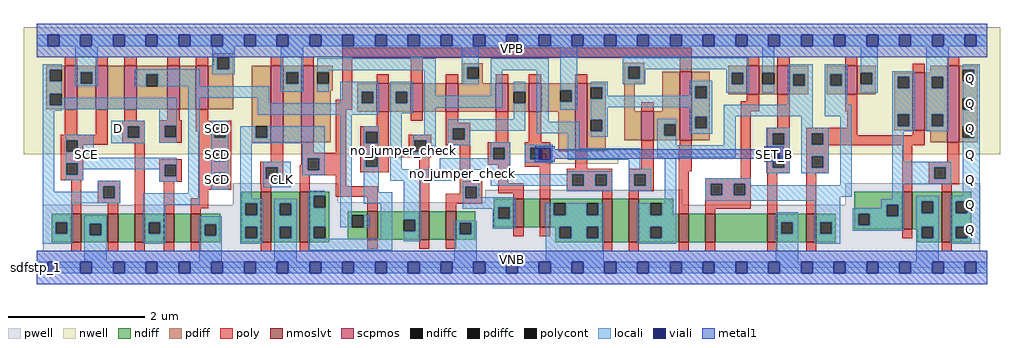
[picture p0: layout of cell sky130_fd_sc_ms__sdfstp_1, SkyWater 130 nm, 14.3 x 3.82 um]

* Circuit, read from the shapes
.subckt sky130_fd_sc_ms__sdfstp_1 CLK D SCD SCE SET_B VGND VNB VPB VPWR Q
XM1 VGND SCE n1 VNB sky130_fd_pr__nfet_01v8_lvt w=0.42 l=0.15
XM2 n2 n1 VGND VNB sky130_fd_pr__nfet_01v8_lvt w=0.42 l=0.15
XM3 n3 D n2 VNB sky130_fd_pr__nfet_01v8_lvt w=0.42 l=0.15
XM4 n4 SCE n3 VNB sky130_fd_pr__nfet_01v8_lvt w=0.42 l=0.15
XM5 VGND SCD n4 VNB sky130_fd_pr__nfet_01v8_lvt w=0.42 l=0.15
XM6 VGND CLK n5 VNB sky130_fd_pr__nfet_01v8_lvt w=0.74 l=0.15
XM7 n6 n5 VGND VNB sky130_fd_pr__nfet_01v8_lvt w=0.74 l=0.15
XM8 n7 n5 n3 VNB sky130_fd_pr__nfet_01v8_lvt w=0.42 l=0.15
XM9 n8 n6 n7 VNB sky130_fd_pr__nfet_01v8_lvt w=0.42 l=0.15
XM10 VGND n9 n8 VNB sky130_fd_pr__nfet_01v8_lvt w=0.42 l=0.15
XM11 n10 n7 n9 VNB sky130_fd_pr__nfet_01v8_lvt w=0.42 l=0.15
XM12 VGND SET_B n10 VNB sky130_fd_pr__nfet_01v8_lvt w=0.42 l=0.15
XM13 n11 n7 VGND VNB sky130_fd_pr__nfet_01v8_lvt w=0.64 l=0.15
XM14 n12 n6 n11 VNB sky130_fd_pr__nfet_01v8_lvt w=0.64 l=0.15
XM15 n13 n5 n12 VNB sky130_fd_pr__nfet_01v8_lvt w=0.42 l=0.15
XM16 n14 n15 n13 VNB sky130_fd_pr__nfet_01v8_lvt w=0.42 l=0.15
XM17 VGND SET_B n14 VNB sky130_fd_pr__nfet_01v8_lvt w=0.42 l=0.15
XM18 n15 n12 VGND VNB sky130_fd_pr__nfet_01v8_lvt w=0.42 l=0.15
XM19 VGND n12 n16 VNB sky130_fd_pr__nfet_01v8_lvt w=0.55 l=0.15
XM20 Q n16 VGND VNB sky130_fd_pr__nfet_01v8_lvt w=0.74 l=0.15
XM21 VPWR SCE n1 VPB sky130_fd_pr__pfet_01v8 w=0.64 l=0.18
XM22 n17 SCE VPWR VPB sky130_fd_pr__pfet_01v8 w=0.64 l=0.18
XM23 n3 D n17 VPB sky130_fd_pr__pfet_01v8 w=0.64 l=0.18
XM24 n18 n1 n3 VPB sky130_fd_pr__pfet_01v8 w=0.64 l=0.18
XM25 VPWR SCD n18 VPB sky130_fd_pr__pfet_01v8 w=0.64 l=0.18
XM26 VPWR CLK n5 VPB sky130_fd_pr__pfet_01v8 w=1.12 l=0.18
XM27 n6 n5 VPWR VPB sky130_fd_pr__pfet_01v8 w=1.12 l=0.18
XM28 n7 n6 n3 VPB sky130_fd_pr__pfet_01v8 w=0.42 l=0.18
XM29 n19 n5 n7 VPB sky130_fd_pr__pfet_01v8 w=0.42 l=0.18
XM30 VPWR n9 n19 VPB sky130_fd_pr__pfet_01v8 w=0.42 l=0.18
XM31 n9 n7 VPWR VPB sky130_fd_pr__pfet_01v8 w=0.42 l=0.18
XM32 VPWR SET_B n9 VPB sky130_fd_pr__pfet_01v8 w=0.42 l=0.18
XM33 n20 n7 VPWR VPB sky130_fd_pr__pfet_01v8 w=1 l=0.18
XM34 n12 n6 n21 VPB sky130_fd_pr__pfet_01v8 w=0.42 l=0.18
XM35 n20 n5 n12 VPB sky130_fd_pr__pfet_01v8 w=1 l=0.18
XM36 VPWR n15 n21 VPB sky130_fd_pr__pfet_01v8 w=0.42 l=0.18
XM37 n12 SET_B VPWR VPB sky130_fd_pr__pfet_01v8 w=0.42 l=0.18
XM38 VPWR n12 n15 VPB sky130_fd_pr__pfet_01v8 w=0.42 l=0.18
XM39 VPWR n12 n16 VPB sky130_fd_pr__pfet_01v8 w=0.84 l=0.18
XM40 Q n16 VPWR VPB sky130_fd_pr__pfet_01v8 w=1.12 l=0.18
.ends

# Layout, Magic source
magic
tech sky130A
magscale 1 2
<< nwell >>
rect -38 332 2822 704
rect 1491 305 1703 332
<< pwell >>
rect 573 191 883 248
rect 1313 191 1891 228
rect 573 184 1891 191
rect 2369 184 2764 248
rect 17 49 2764 184
rect 0 0 2784 49
<< scpmos >>
rect 82 464 118 592
rect 172 464 208 592
rect 256 464 292 592
rect 382 464 418 592
rect 466 464 502 592
rect 685 368 721 592
rect 775 368 811 592
rect 995 457 1031 541
rect 1095 457 1131 541
rect 1198 457 1234 541
rect 1345 457 1381 541
rect 1441 457 1477 541
rect 1577 341 1613 541
rect 1771 374 1807 458
rect 1883 374 1919 574
rect 2080 508 2116 592
rect 2170 508 2206 592
rect 2368 508 2404 592
rect 2566 403 2602 571
rect 2667 368 2703 592
<< nmoslvt >>
rect 100 74 130 158
rect 208 74 238 158
rect 286 74 316 158
rect 372 74 402 158
rect 450 74 480 158
rect 656 74 686 222
rect 770 74 800 222
rect 968 81 998 165
rect 1120 81 1150 165
rect 1198 81 1228 165
rect 1396 118 1426 202
rect 1474 118 1504 202
rect 1656 74 1686 202
rect 1734 74 1764 202
rect 1880 74 1910 158
rect 1958 74 1988 158
rect 2140 74 2170 158
rect 2254 74 2284 158
rect 2535 112 2565 222
rect 2651 74 2681 222
<< ndiff >>
rect 599 188 656 222
rect 43 133 100 158
rect 43 99 55 133
rect 89 99 100 133
rect 43 74 100 99
rect 130 129 208 158
rect 130 95 155 129
rect 189 95 208 129
rect 130 74 208 95
rect 238 74 286 158
rect 316 133 372 158
rect 316 99 327 133
rect 361 99 372 133
rect 316 74 372 99
rect 402 74 450 158
rect 480 127 537 158
rect 480 93 491 127
rect 525 93 537 127
rect 480 74 537 93
rect 599 154 611 188
rect 645 154 656 188
rect 599 120 656 154
rect 599 86 611 120
rect 645 86 656 120
rect 599 74 656 86
rect 686 188 770 222
rect 686 154 711 188
rect 745 154 770 188
rect 686 120 770 154
rect 686 86 711 120
rect 745 86 770 120
rect 686 74 770 86
rect 800 210 857 222
rect 800 176 811 210
rect 845 176 857 210
rect 800 120 857 176
rect 1339 177 1396 202
rect 800 86 811 120
rect 845 86 857 120
rect 800 74 857 86
rect 911 153 968 165
rect 911 119 923 153
rect 957 119 968 153
rect 911 81 968 119
rect 998 140 1120 165
rect 998 106 1075 140
rect 1109 106 1120 140
rect 998 81 1120 106
rect 1150 81 1198 165
rect 1228 132 1285 165
rect 1228 98 1239 132
rect 1273 98 1285 132
rect 1339 143 1351 177
rect 1385 143 1396 177
rect 1339 118 1396 143
rect 1426 118 1474 202
rect 1504 188 1656 202
rect 1504 154 1515 188
rect 1549 154 1611 188
rect 1645 154 1656 188
rect 1504 120 1656 154
rect 1504 118 1531 120
rect 1228 81 1285 98
rect 1519 86 1531 118
rect 1565 86 1611 120
rect 1645 86 1656 120
rect 1519 74 1656 86
rect 1686 74 1734 202
rect 1764 188 1865 202
rect 1764 154 1797 188
rect 1831 158 1865 188
rect 2395 185 2535 222
rect 2395 158 2490 185
rect 1831 154 1880 158
rect 1764 120 1880 154
rect 1764 86 1797 120
rect 1831 86 1880 120
rect 1764 74 1880 86
rect 1910 74 1958 158
rect 1988 74 2140 158
rect 2170 133 2254 158
rect 2170 99 2181 133
rect 2215 99 2254 133
rect 2170 74 2254 99
rect 2284 133 2341 158
rect 2284 99 2295 133
rect 2329 99 2341 133
rect 2395 124 2407 158
rect 2441 151 2490 158
rect 2524 151 2535 185
rect 2441 124 2535 151
rect 2395 112 2535 124
rect 2565 194 2651 222
rect 2565 160 2592 194
rect 2626 160 2651 194
rect 2565 120 2651 160
rect 2565 112 2592 120
rect 2284 74 2341 99
rect 2580 86 2592 112
rect 2626 86 2651 120
rect 2580 74 2651 86
rect 2681 194 2738 222
rect 2681 160 2692 194
rect 2726 160 2738 194
rect 2681 120 2738 160
rect 2681 86 2692 120
rect 2726 86 2738 120
rect 2681 74 2738 86
<< pdiff >>
rect 517 616 575 628
rect 517 592 529 616
rect 27 580 82 592
rect 27 546 38 580
rect 72 546 82 580
rect 27 510 82 546
rect 27 476 38 510
rect 72 476 82 510
rect 27 464 82 476
rect 118 573 172 592
rect 118 539 128 573
rect 162 539 172 573
rect 118 464 172 539
rect 208 464 256 592
rect 292 566 382 592
rect 292 532 320 566
rect 354 532 382 566
rect 292 464 382 532
rect 418 464 466 592
rect 502 582 529 592
rect 563 582 575 616
rect 502 464 575 582
rect 629 414 685 592
rect 629 380 641 414
rect 675 380 685 414
rect 629 368 685 380
rect 721 573 775 592
rect 721 539 731 573
rect 765 539 775 573
rect 721 368 775 539
rect 811 573 867 592
rect 811 539 821 573
rect 855 539 867 573
rect 811 520 867 539
rect 811 368 861 520
rect 1249 587 1307 599
rect 1249 553 1261 587
rect 1295 553 1307 587
rect 1721 588 1779 600
rect 1249 541 1307 553
rect 1721 554 1733 588
rect 1767 554 1779 588
rect 1721 542 1779 554
rect 939 516 995 541
rect 939 482 951 516
rect 985 482 995 516
rect 939 457 995 482
rect 1031 516 1095 541
rect 1031 482 1051 516
rect 1085 482 1095 516
rect 1031 457 1095 482
rect 1131 457 1198 541
rect 1234 457 1345 541
rect 1381 516 1441 541
rect 1381 482 1397 516
rect 1431 482 1441 516
rect 1381 457 1441 482
rect 1477 520 1577 541
rect 1477 486 1533 520
rect 1567 486 1577 520
rect 1477 457 1577 486
rect 1527 341 1577 457
rect 1613 529 1667 541
rect 1613 495 1623 529
rect 1657 495 1667 529
rect 1613 434 1667 495
rect 1613 400 1623 434
rect 1657 400 1667 434
rect 1613 341 1667 400
rect 1721 458 1751 542
rect 1833 458 1883 574
rect 1721 374 1771 458
rect 1807 420 1883 458
rect 1807 386 1838 420
rect 1872 386 1883 420
rect 1807 374 1883 386
rect 1919 531 1972 574
rect 1919 497 1929 531
rect 1963 497 1972 531
rect 2026 571 2080 592
rect 2026 537 2036 571
rect 2070 537 2080 571
rect 2026 508 2080 537
rect 2116 571 2170 592
rect 2116 537 2126 571
rect 2160 537 2170 571
rect 2116 508 2170 537
rect 2206 567 2260 592
rect 2206 533 2216 567
rect 2250 533 2260 567
rect 2206 508 2260 533
rect 2314 567 2368 592
rect 2314 533 2324 567
rect 2358 533 2368 567
rect 2314 508 2368 533
rect 2404 571 2458 592
rect 2617 571 2667 592
rect 2404 537 2414 571
rect 2448 537 2458 571
rect 2404 508 2458 537
rect 2512 559 2566 571
rect 2512 525 2522 559
rect 2556 525 2566 559
rect 1919 442 1972 497
rect 1919 408 1929 442
rect 1963 408 1972 442
rect 1919 374 1972 408
rect 2512 449 2566 525
rect 2512 415 2522 449
rect 2556 415 2566 449
rect 2512 403 2566 415
rect 2602 559 2667 571
rect 2602 525 2622 559
rect 2656 525 2667 559
rect 2602 449 2667 525
rect 2602 415 2622 449
rect 2656 415 2667 449
rect 2602 403 2667 415
rect 2617 368 2667 403
rect 2703 580 2757 592
rect 2703 546 2713 580
rect 2747 546 2757 580
rect 2703 497 2757 546
rect 2703 463 2713 497
rect 2747 463 2757 497
rect 2703 414 2757 463
rect 2703 380 2713 414
rect 2747 380 2757 414
rect 2703 368 2757 380
<< ndiffc >>
rect 55 99 89 133
rect 155 95 189 129
rect 327 99 361 133
rect 491 93 525 127
rect 611 154 645 188
rect 611 86 645 120
rect 711 154 745 188
rect 711 86 745 120
rect 811 176 845 210
rect 811 86 845 120
rect 923 119 957 153
rect 1075 106 1109 140
rect 1239 98 1273 132
rect 1351 143 1385 177
rect 1515 154 1549 188
rect 1611 154 1645 188
rect 1531 86 1565 120
rect 1611 86 1645 120
rect 1797 154 1831 188
rect 1797 86 1831 120
rect 2181 99 2215 133
rect 2295 99 2329 133
rect 2407 124 2441 158
rect 2490 151 2524 185
rect 2592 160 2626 194
rect 2592 86 2626 120
rect 2692 160 2726 194
rect 2692 86 2726 120
<< pdiffc >>
rect 38 546 72 580
rect 38 476 72 510
rect 128 539 162 573
rect 320 532 354 566
rect 529 582 563 616
rect 641 380 675 414
rect 731 539 765 573
rect 821 539 855 573
rect 1261 553 1295 587
rect 1733 554 1767 588
rect 951 482 985 516
rect 1051 482 1085 516
rect 1397 482 1431 516
rect 1533 486 1567 520
rect 1623 495 1657 529
rect 1623 400 1657 434
rect 1838 386 1872 420
rect 1929 497 1963 531
rect 2036 537 2070 571
rect 2126 537 2160 571
rect 2216 533 2250 567
rect 2324 533 2358 567
rect 2414 537 2448 571
rect 2522 525 2556 559
rect 1929 408 1963 442
rect 2522 415 2556 449
rect 2622 525 2656 559
rect 2622 415 2656 449
rect 2713 546 2747 580
rect 2713 463 2747 497
rect 2713 380 2747 414
<< poly >>
rect 82 592 118 618
rect 172 592 208 618
rect 256 592 292 618
rect 382 592 418 618
rect 466 592 502 618
rect 685 592 721 618
rect 775 592 811 618
rect 894 615 1919 645
rect 82 390 118 464
rect 172 390 208 464
rect 256 430 292 464
rect 382 432 418 464
rect 70 374 208 390
rect 70 340 86 374
rect 120 360 208 374
rect 250 414 316 430
rect 250 380 266 414
rect 300 380 316 414
rect 250 364 316 380
rect 358 416 424 432
rect 358 382 374 416
rect 408 382 424 416
rect 466 430 502 464
rect 466 414 569 430
rect 466 400 519 414
rect 358 366 424 382
rect 472 380 519 400
rect 553 380 569 414
rect 120 340 136 360
rect 70 306 136 340
rect 70 272 86 306
rect 120 272 136 306
rect 70 256 136 272
rect 100 158 130 256
rect 178 238 244 254
rect 178 204 194 238
rect 228 204 244 238
rect 178 188 244 204
rect 208 158 238 188
rect 286 158 316 364
rect 472 346 569 380
rect 894 492 924 615
rect 995 541 1031 567
rect 1095 541 1131 615
rect 1198 541 1234 567
rect 1345 541 1381 567
rect 1441 541 1477 567
rect 1577 541 1613 567
rect 1883 574 1919 615
rect 2080 592 2116 618
rect 2170 592 2206 618
rect 2368 592 2404 618
rect 876 462 924 492
rect 358 302 424 318
rect 358 268 374 302
rect 408 268 424 302
rect 358 252 424 268
rect 472 312 519 346
rect 553 312 569 346
rect 472 278 569 312
rect 685 310 721 368
rect 372 158 402 252
rect 472 244 519 278
rect 553 244 569 278
rect 655 294 721 310
rect 775 336 811 368
rect 876 336 906 462
rect 995 414 1031 457
rect 1095 431 1131 457
rect 775 320 906 336
rect 775 300 793 320
rect 655 260 671 294
rect 705 260 721 294
rect 655 244 721 260
rect 770 286 793 300
rect 827 286 906 320
rect 770 270 906 286
rect 948 398 1031 414
rect 948 364 964 398
rect 998 364 1031 398
rect 1198 425 1234 457
rect 1198 409 1269 425
rect 948 353 1031 364
rect 1090 373 1156 389
rect 1090 353 1106 373
rect 948 339 1106 353
rect 1140 339 1156 373
rect 1198 375 1219 409
rect 1253 375 1269 409
rect 1198 359 1269 375
rect 1345 367 1381 457
rect 1441 367 1477 457
rect 948 330 1156 339
rect 948 296 964 330
rect 998 323 1156 330
rect 998 296 1031 323
rect 948 280 1031 296
rect 472 228 569 244
rect 472 204 502 228
rect 656 222 686 244
rect 770 222 800 270
rect 876 238 906 270
rect 450 174 502 204
rect 450 158 480 174
rect 876 208 998 238
rect 968 165 998 208
rect 1120 165 1150 323
rect 1239 253 1269 359
rect 1321 351 1387 367
rect 1321 317 1337 351
rect 1371 317 1387 351
rect 1321 301 1387 317
rect 1429 351 1504 367
rect 1429 317 1445 351
rect 1479 317 1504 351
rect 1771 458 1807 484
rect 2566 571 2602 597
rect 2667 592 2703 618
rect 2080 488 2116 508
rect 2062 458 2116 488
rect 1239 237 1305 253
rect 1239 217 1255 237
rect 1198 203 1255 217
rect 1289 203 1305 237
rect 1351 248 1381 301
rect 1429 296 1504 317
rect 1351 218 1426 248
rect 1198 187 1305 203
rect 1396 202 1426 218
rect 1474 202 1504 296
rect 1577 290 1613 341
rect 1771 290 1807 374
rect 1883 359 1919 374
rect 1552 274 1686 290
rect 1552 240 1568 274
rect 1602 240 1636 274
rect 1670 240 1686 274
rect 1552 224 1686 240
rect 1656 202 1686 224
rect 1734 274 1807 290
rect 1734 240 1750 274
rect 1784 240 1807 274
rect 1734 224 1807 240
rect 1880 282 1919 359
rect 1734 202 1764 224
rect 1198 165 1228 187
rect 1396 92 1426 118
rect 1474 92 1504 118
rect 100 48 130 74
rect 208 48 238 74
rect 286 48 316 74
rect 372 48 402 74
rect 450 48 480 74
rect 656 48 686 74
rect 770 48 800 74
rect 968 55 998 81
rect 1120 55 1150 81
rect 1198 55 1228 81
rect 1880 158 1910 282
rect 2062 262 2092 458
rect 2170 410 2206 508
rect 2368 458 2404 508
rect 2374 410 2404 458
rect 1958 246 2092 262
rect 1958 212 1974 246
rect 2008 212 2042 246
rect 2076 212 2092 246
rect 1958 173 2092 212
rect 2140 394 2206 410
rect 2140 360 2156 394
rect 2190 360 2206 394
rect 2140 326 2206 360
rect 2140 292 2156 326
rect 2190 292 2206 326
rect 2140 276 2206 292
rect 2254 394 2404 410
rect 2254 360 2270 394
rect 2304 388 2404 394
rect 2566 388 2602 403
rect 2304 360 2602 388
rect 2254 358 2602 360
rect 2254 326 2320 358
rect 2254 292 2270 326
rect 2304 292 2320 326
rect 2254 276 2320 292
rect 1958 158 1988 173
rect 2140 158 2170 276
rect 2254 158 2284 276
rect 2535 222 2565 358
rect 2667 310 2703 368
rect 2613 294 2703 310
rect 2613 260 2629 294
rect 2663 260 2703 294
rect 2613 244 2703 260
rect 2651 222 2681 244
rect 2535 86 2565 112
rect 1656 48 1686 74
rect 1734 48 1764 74
rect 1880 48 1910 74
rect 1958 48 1988 74
rect 2140 48 2170 74
rect 2254 48 2284 74
rect 2651 48 2681 74
<< polycont >>
rect 86 340 120 374
rect 266 380 300 414
rect 374 382 408 416
rect 519 380 553 414
rect 86 272 120 306
rect 194 204 228 238
rect 374 268 408 302
rect 519 312 553 346
rect 519 244 553 278
rect 671 260 705 294
rect 793 286 827 320
rect 964 364 998 398
rect 1106 339 1140 373
rect 1219 375 1253 409
rect 964 296 998 330
rect 1337 317 1371 351
rect 1445 317 1479 351
rect 1255 203 1289 237
rect 1568 240 1602 274
rect 1636 240 1670 274
rect 1750 240 1784 274
rect 1974 212 2008 246
rect 2042 212 2076 246
rect 2156 360 2190 394
rect 2156 292 2190 326
rect 2270 360 2304 394
rect 2270 292 2304 326
rect 2629 260 2663 294
<< locali >>
rect 0 649 31 683
rect 65 649 127 683
rect 161 649 223 683
rect 257 649 319 683
rect 353 649 415 683
rect 449 649 511 683
rect 545 649 607 683
rect 641 649 703 683
rect 737 649 799 683
rect 833 649 895 683
rect 929 649 991 683
rect 1025 649 1087 683
rect 1121 649 1183 683
rect 1217 649 1279 683
rect 1313 649 1375 683
rect 1409 649 1471 683
rect 1505 649 1567 683
rect 1601 649 1663 683
rect 1697 649 1759 683
rect 1793 649 1855 683
rect 1889 649 1951 683
rect 1985 649 2047 683
rect 2081 649 2143 683
rect 2177 649 2239 683
rect 2273 649 2335 683
rect 2369 649 2431 683
rect 2465 649 2527 683
rect 2561 649 2623 683
rect 2657 649 2719 683
rect 2753 649 2784 683
rect 17 580 72 596
rect 17 546 38 580
rect 17 510 72 546
rect 112 573 178 649
rect 513 616 579 649
rect 513 582 529 616
rect 563 582 579 616
rect 112 539 128 573
rect 162 539 178 573
rect 112 532 178 539
rect 286 566 477 582
rect 513 566 579 582
rect 715 573 781 649
rect 286 532 320 566
rect 354 532 477 566
rect 715 539 731 573
rect 765 539 781 573
rect 17 476 38 510
rect 443 498 681 532
rect 715 516 781 539
rect 821 579 1169 613
rect 821 573 855 579
rect 821 516 855 539
rect 889 516 1001 545
rect 72 476 409 498
rect 17 464 409 476
rect 17 460 72 464
rect 17 222 51 460
rect 217 414 316 430
rect 85 374 167 390
rect 85 340 86 374
rect 120 340 167 374
rect 217 380 266 414
rect 300 380 316 414
rect 217 364 316 380
rect 358 416 409 464
rect 358 382 374 416
rect 408 382 409 416
rect 358 366 409 382
rect 85 322 167 340
rect 85 306 409 322
rect 85 272 86 306
rect 120 302 409 306
rect 120 288 374 302
rect 120 272 136 288
rect 85 256 136 272
rect 358 268 374 288
rect 408 268 409 302
rect 178 238 244 254
rect 358 252 409 268
rect 178 222 194 238
rect 17 204 194 222
rect 228 204 244 238
rect 443 218 477 498
rect 647 482 681 498
rect 889 482 951 516
rect 985 482 1001 516
rect 647 448 1001 482
rect 1035 516 1101 545
rect 1035 482 1051 516
rect 1085 482 1101 516
rect 1035 453 1101 482
rect 1135 503 1169 579
rect 1245 587 1295 649
rect 1245 553 1261 587
rect 1245 537 1295 553
rect 1329 579 1499 613
rect 1329 503 1363 579
rect 1135 469 1363 503
rect 1397 516 1431 545
rect 511 414 561 430
rect 511 380 519 414
rect 553 380 561 414
rect 511 346 561 380
rect 511 312 519 346
rect 553 312 561 346
rect 511 278 561 312
rect 511 244 519 278
rect 553 244 561 278
rect 511 228 561 244
rect 595 380 641 414
rect 675 380 843 414
rect 595 364 843 380
rect 17 188 244 204
rect 17 133 105 188
rect 311 184 477 218
rect 595 202 629 364
rect 777 320 843 364
rect 663 294 743 310
rect 663 260 671 294
rect 705 260 743 294
rect 777 286 793 320
rect 827 286 843 320
rect 777 270 843 286
rect 663 236 743 260
rect 795 210 845 226
rect 595 188 661 202
rect 17 99 55 133
rect 89 99 105 133
rect 17 70 105 99
rect 139 129 205 154
rect 139 95 155 129
rect 189 95 205 129
rect 139 17 205 95
rect 311 133 377 184
rect 595 154 611 188
rect 645 154 661 188
rect 311 99 327 133
rect 361 99 377 133
rect 311 70 377 99
rect 475 127 541 150
rect 475 93 491 127
rect 525 93 541 127
rect 475 17 541 93
rect 595 120 661 154
rect 595 86 611 120
rect 645 86 661 120
rect 595 70 661 86
rect 695 188 761 202
rect 695 154 711 188
rect 745 154 761 188
rect 695 120 761 154
rect 695 86 711 120
rect 745 86 761 120
rect 695 17 761 86
rect 795 176 811 210
rect 795 120 845 176
rect 795 86 811 120
rect 889 119 923 448
rect 957 398 1001 414
rect 957 364 964 398
rect 998 364 1001 398
rect 957 330 1001 364
rect 957 296 964 330
rect 998 296 1001 330
rect 957 221 1001 296
rect 1035 289 1069 453
rect 1135 389 1169 469
rect 1397 435 1431 482
rect 1103 373 1169 389
rect 1103 339 1106 373
rect 1140 355 1169 373
rect 1203 409 1431 435
rect 1203 375 1219 409
rect 1253 401 1431 409
rect 1465 428 1499 579
rect 1533 520 1583 649
rect 1717 588 2086 615
rect 1717 554 1733 588
rect 1767 581 2086 588
rect 1767 554 1783 581
rect 1567 486 1583 520
rect 1533 462 1583 486
rect 1623 529 1673 545
rect 1717 538 1783 554
rect 2020 571 2086 581
rect 1657 504 1673 529
rect 1913 531 1979 547
rect 1913 504 1929 531
rect 1657 497 1929 504
rect 1963 497 1979 531
rect 2020 537 2036 571
rect 2070 537 2086 571
rect 2020 512 2086 537
rect 2126 571 2160 649
rect 2126 512 2160 537
rect 2200 567 2274 596
rect 2200 533 2216 567
rect 2250 533 2274 567
rect 1657 495 1979 497
rect 1623 470 1979 495
rect 2200 478 2274 533
rect 1623 434 1673 470
rect 1913 442 1979 470
rect 1253 375 1269 401
rect 1465 394 1589 428
rect 1203 359 1269 375
rect 1140 339 1146 355
rect 1103 323 1146 339
rect 1330 351 1387 367
rect 1330 321 1337 351
rect 1180 317 1337 321
rect 1371 317 1387 351
rect 1180 289 1387 317
rect 1429 351 1511 360
rect 1429 317 1445 351
rect 1479 350 1511 351
rect 1429 316 1471 317
rect 1505 316 1511 350
rect 1555 350 1589 394
rect 1657 400 1673 434
rect 1623 384 1673 400
rect 1818 420 1873 436
rect 1818 386 1838 420
rect 1872 386 1873 420
rect 1913 408 1929 442
rect 1963 408 1979 442
rect 1913 392 1979 408
rect 2013 444 2274 478
rect 2308 567 2374 596
rect 2308 533 2324 567
rect 2358 533 2374 567
rect 2308 478 2374 533
rect 2414 571 2464 649
rect 2448 537 2464 571
rect 2414 512 2464 537
rect 2506 559 2572 575
rect 2506 525 2522 559
rect 2556 525 2572 559
rect 2308 444 2388 478
rect 1818 358 1873 386
rect 2013 358 2047 444
rect 2240 410 2274 444
rect 1555 316 1768 350
rect 1818 324 2047 358
rect 2137 394 2206 410
rect 2137 360 2156 394
rect 2190 360 2206 394
rect 2137 350 2206 360
rect 1429 308 1511 316
rect 1035 287 1387 289
rect 1035 255 1214 287
rect 1330 274 1387 287
rect 1734 290 1768 316
rect 1552 274 1686 282
rect 957 187 1041 221
rect 957 119 973 153
rect 795 85 845 86
rect 1007 85 1041 187
rect 795 51 1041 85
rect 1075 140 1125 255
rect 1248 237 1296 253
rect 1330 240 1568 274
rect 1602 240 1636 274
rect 1670 240 1686 274
rect 1248 203 1255 237
rect 1289 206 1296 237
rect 1552 224 1686 240
rect 1734 274 1800 290
rect 1734 240 1750 274
rect 1784 240 1800 274
rect 1734 224 1800 240
rect 1289 203 1401 206
rect 1248 177 1401 203
rect 1839 188 1873 324
rect 2137 316 2143 350
rect 2177 326 2206 350
rect 2137 292 2156 316
rect 2190 292 2206 326
rect 2137 276 2206 292
rect 2240 394 2320 410
rect 2240 360 2270 394
rect 2304 360 2320 394
rect 2240 326 2320 360
rect 2240 292 2270 326
rect 2304 292 2320 326
rect 2240 276 2320 292
rect 1958 246 2092 262
rect 1958 212 1974 246
rect 2008 212 2042 246
rect 2076 242 2092 246
rect 2354 242 2388 444
rect 2076 212 2388 242
rect 1958 208 2388 212
rect 2506 449 2572 525
rect 2506 415 2522 449
rect 2556 415 2572 449
rect 2506 399 2572 415
rect 2606 559 2672 649
rect 2606 525 2622 559
rect 2656 525 2672 559
rect 2606 449 2672 525
rect 2606 415 2622 449
rect 2656 415 2672 449
rect 2606 399 2672 415
rect 2713 580 2763 596
rect 2747 546 2763 580
rect 2713 497 2763 546
rect 2747 463 2763 497
rect 2713 414 2763 463
rect 2506 310 2540 399
rect 2747 380 2763 414
rect 2506 294 2679 310
rect 2506 260 2629 294
rect 2663 260 2679 294
rect 2506 244 2679 260
rect 1958 196 2354 208
rect 2506 201 2540 244
rect 2713 210 2763 380
rect 1248 172 1351 177
rect 1109 106 1125 140
rect 1335 143 1351 172
rect 1385 143 1401 177
rect 1075 77 1125 106
rect 1223 132 1289 138
rect 1223 98 1239 132
rect 1273 98 1289 132
rect 1335 114 1401 143
rect 1491 154 1515 188
rect 1549 154 1611 188
rect 1645 154 1661 188
rect 1491 120 1661 154
rect 1223 17 1289 98
rect 1491 86 1531 120
rect 1565 86 1611 120
rect 1645 86 1661 120
rect 1491 17 1661 86
rect 1759 154 1797 188
rect 1831 154 1873 188
rect 1759 120 1873 154
rect 1759 86 1797 120
rect 1831 86 1873 120
rect 1759 70 1873 86
rect 2165 133 2231 162
rect 2165 99 2181 133
rect 2215 99 2231 133
rect 2165 17 2231 99
rect 2279 133 2354 196
rect 2474 185 2540 201
rect 2474 174 2490 185
rect 2279 99 2295 133
rect 2329 99 2354 133
rect 2391 158 2490 174
rect 2391 124 2407 158
rect 2441 151 2490 158
rect 2524 151 2540 185
rect 2441 124 2540 151
rect 2391 108 2540 124
rect 2576 194 2642 210
rect 2576 160 2592 194
rect 2626 160 2642 194
rect 2576 120 2642 160
rect 2279 70 2354 99
rect 2576 86 2592 120
rect 2626 86 2642 120
rect 2576 17 2642 86
rect 2676 194 2763 210
rect 2676 160 2692 194
rect 2726 160 2763 194
rect 2676 120 2763 160
rect 2676 86 2692 120
rect 2726 86 2763 120
rect 2676 70 2763 86
rect 0 -17 31 17
rect 65 -17 127 17
rect 161 -17 223 17
rect 257 -17 319 17
rect 353 -17 415 17
rect 449 -17 511 17
rect 545 -17 607 17
rect 641 -17 703 17
rect 737 -17 799 17
rect 833 -17 895 17
rect 929 -17 991 17
rect 1025 -17 1087 17
rect 1121 -17 1183 17
rect 1217 -17 1279 17
rect 1313 -17 1375 17
rect 1409 -17 1471 17
rect 1505 -17 1567 17
rect 1601 -17 1663 17
rect 1697 -17 1759 17
rect 1793 -17 1855 17
rect 1889 -17 1951 17
rect 1985 -17 2047 17
rect 2081 -17 2143 17
rect 2177 -17 2239 17
rect 2273 -17 2335 17
rect 2369 -17 2431 17
rect 2465 -17 2527 17
rect 2561 -17 2623 17
rect 2657 -17 2719 17
rect 2753 -17 2784 17
<< viali >>
rect 31 649 65 683
rect 127 649 161 683
rect 223 649 257 683
rect 319 649 353 683
rect 415 649 449 683
rect 511 649 545 683
rect 607 649 641 683
rect 703 649 737 683
rect 799 649 833 683
rect 895 649 929 683
rect 991 649 1025 683
rect 1087 649 1121 683
rect 1183 649 1217 683
rect 1279 649 1313 683
rect 1375 649 1409 683
rect 1471 649 1505 683
rect 1567 649 1601 683
rect 1663 649 1697 683
rect 1759 649 1793 683
rect 1855 649 1889 683
rect 1951 649 1985 683
rect 2047 649 2081 683
rect 2143 649 2177 683
rect 2239 649 2273 683
rect 2335 649 2369 683
rect 2431 649 2465 683
rect 2527 649 2561 683
rect 2623 649 2657 683
rect 2719 649 2753 683
rect 1471 317 1479 350
rect 1479 317 1505 350
rect 1471 316 1505 317
rect 2143 326 2177 350
rect 2143 316 2156 326
rect 2156 316 2177 326
rect 31 -17 65 17
rect 127 -17 161 17
rect 223 -17 257 17
rect 319 -17 353 17
rect 415 -17 449 17
rect 511 -17 545 17
rect 607 -17 641 17
rect 703 -17 737 17
rect 799 -17 833 17
rect 895 -17 929 17
rect 991 -17 1025 17
rect 1087 -17 1121 17
rect 1183 -17 1217 17
rect 1279 -17 1313 17
rect 1375 -17 1409 17
rect 1471 -17 1505 17
rect 1567 -17 1601 17
rect 1663 -17 1697 17
rect 1759 -17 1793 17
rect 1855 -17 1889 17
rect 1951 -17 1985 17
rect 2047 -17 2081 17
rect 2143 -17 2177 17
rect 2239 -17 2273 17
rect 2335 -17 2369 17
rect 2431 -17 2465 17
rect 2527 -17 2561 17
rect 2623 -17 2657 17
rect 2719 -17 2753 17
<< metal1 >>
rect 0 683 2784 715
rect 0 649 31 683
rect 65 649 127 683
rect 161 649 223 683
rect 257 649 319 683
rect 353 649 415 683
rect 449 649 511 683
rect 545 649 607 683
rect 641 649 703 683
rect 737 649 799 683
rect 833 649 895 683
rect 929 649 991 683
rect 1025 649 1087 683
rect 1121 649 1183 683
rect 1217 649 1279 683
rect 1313 649 1375 683
rect 1409 649 1471 683
rect 1505 649 1567 683
rect 1601 649 1663 683
rect 1697 649 1759 683
rect 1793 649 1855 683
rect 1889 649 1951 683
rect 1985 649 2047 683
rect 2081 649 2143 683
rect 2177 649 2239 683
rect 2273 649 2335 683
rect 2369 649 2431 683
rect 2465 649 2527 683
rect 2561 649 2623 683
rect 2657 649 2719 683
rect 2753 649 2784 683
rect 0 617 2784 649
rect 1459 350 1517 356
rect 1459 316 1471 350
rect 1505 347 1517 350
rect 2131 350 2189 356
rect 2131 347 2143 350
rect 1505 319 2143 347
rect 1505 316 1517 319
rect 1459 310 1517 316
rect 2131 316 2143 319
rect 2177 316 2189 350
rect 2131 310 2189 316
rect 0 17 2784 49
rect 0 -17 31 17
rect 65 -17 127 17
rect 161 -17 223 17
rect 257 -17 319 17
rect 353 -17 415 17
rect 449 -17 511 17
rect 545 -17 607 17
rect 641 -17 703 17
rect 737 -17 799 17
rect 833 -17 895 17
rect 929 -17 991 17
rect 1025 -17 1087 17
rect 1121 -17 1183 17
rect 1217 -17 1279 17
rect 1313 -17 1375 17
rect 1409 -17 1471 17
rect 1505 -17 1567 17
rect 1601 -17 1663 17
rect 1697 -17 1759 17
rect 1793 -17 1855 17
rect 1889 -17 1951 17
rect 1985 -17 2047 17
rect 2081 -17 2143 17
rect 2177 -17 2239 17
rect 2273 -17 2335 17
rect 2369 -17 2431 17
rect 2465 -17 2527 17
rect 2561 -17 2623 17
rect 2657 -17 2719 17
rect 2753 -17 2784 17
rect 0 -49 2784 -17
<< labels >>
flabel pwell s 0 0 2784 49 0 FreeSans 200 0 0 0 VNB
port 7 nsew ground bidirectional
flabel nwell s 0 617 2784 666 0 FreeSans 200 0 0 0 VPB
port 8 nsew power bidirectional
rlabel comment s 0 0 0 0 4 sdfstp_1
flabel comment s 1247 277 1247 277 0 FreeSans 200 0 0 0 no_jumper_check
flabel comment s 1075 344 1075 344 0 FreeSans 200 0 0 0 no_jumper_check
flabel metal1 s 2143 316 2177 350 0 FreeSans 340 0 0 0 SET_B
port 5 nsew signal input
flabel metal1 s 0 617 2784 666 0 FreeSans 340 0 0 0 VPWR
port 9 nsew power bidirectional
flabel metal1 s 0 0 2784 49 0 FreeSans 340 0 0 0 VGND
port 6 nsew ground bidirectional
flabel locali s 2719 94 2753 128 0 FreeSans 340 0 0 0 Q
port 10 nsew signal output
flabel locali s 2719 168 2753 202 0 FreeSans 340 0 0 0 Q
port 10 nsew signal output
flabel locali s 2719 242 2753 276 0 FreeSans 340 0 0 0 Q
port 10 nsew signal output
flabel locali s 2719 316 2753 350 0 FreeSans 340 0 0 0 Q
port 10 nsew signal output
flabel locali s 2719 390 2753 424 0 FreeSans 340 0 0 0 Q
port 10 nsew signal output
flabel locali s 2719 464 2753 498 0 FreeSans 340 0 0 0 Q
port 10 nsew signal output
flabel locali s 2719 538 2753 572 0 FreeSans 340 0 0 0 Q
port 10 nsew signal output
flabel locali s 511 242 545 276 0 FreeSans 340 0 0 0 SCD
port 3 nsew signal input
flabel locali s 511 316 545 350 0 FreeSans 340 0 0 0 SCD
port 3 nsew signal input
flabel locali s 511 390 545 424 0 FreeSans 340 0 0 0 SCD
port 3 nsew signal input
flabel locali s 703 242 737 276 0 FreeSans 340 0 0 0 CLK
port 1 nsew clock input
flabel locali s 127 316 161 350 0 FreeSans 340 0 0 0 SCE
port 4 nsew signal input
flabel locali s 223 390 257 424 0 FreeSans 340 0 0 0 D
port 2 nsew signal input
<< properties >>
string LEFsite unit
string LEFclass CORE
string FIXED_BBOX 0 0 2784 666
string GDS_FILE $PDKPATH/libs.ref/sky130_fd_sc_ms/gds/sky130_fd_sc_ms.gds
string LEFsymmetry X Y
string GDS_END 202368
string GDS_START 182296
<< end >>
